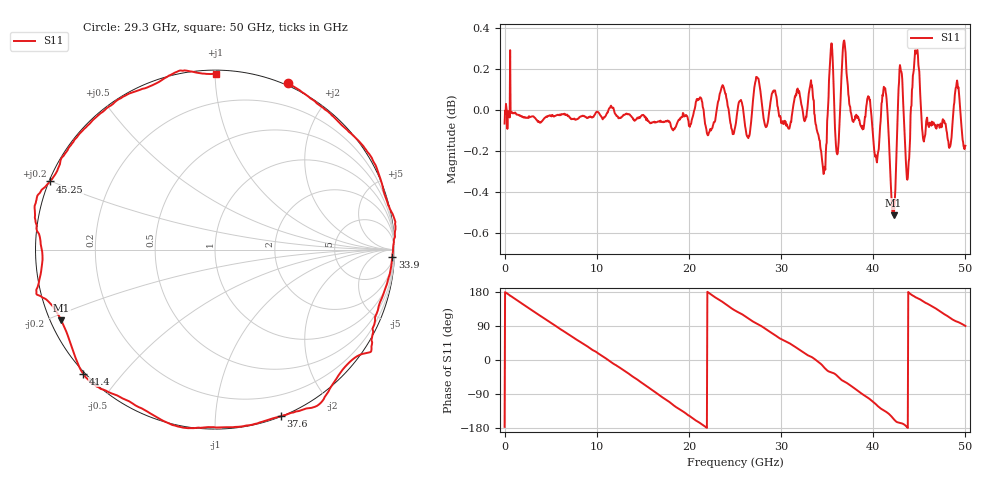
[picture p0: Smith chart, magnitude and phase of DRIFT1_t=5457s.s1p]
!Created with skrf (http://scikit-rf.org).
# Hz S RI R 50.0
!freq ReS11 ImS11
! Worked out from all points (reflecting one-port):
!   1001 points, 300 kHz to 50 GHz, reference 50 ohm
!   lowest |S11| = -0.5 dB at 42.2 GHz (marker M1), VSWR 33.98, Z = 1.54 - j10.9 ohm
!   phase of S11 starts at -176 deg and turns -814 deg over the sweep
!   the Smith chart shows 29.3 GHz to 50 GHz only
!   S11 on the Smith chart (normalised r, x): 29.3 GHz: -0.02, +1.53; 33.9 GHz: 12, -44; 37.6 GHz: 0.00, -1.47; 41.4 GHz: -0.00, -0.40; 45.25 GHz: 0.00, +0.20; 50 GHz: 0.02, +1.00
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300000  -0.9906 -0.061
1.550291e9  -0.8991 0.431
3.30028e9  -0.5816 0.8081
4.800271e9  -0.2005 0.9765
6.250262e9  0.1996 0.9775
9.500243e9  0.8886 0.45
1.115023e10  0.9985 0.0223
1.250022e10  0.9335 -0.3457
1.580021e10  0.2455 -0.9618
1.73502e10  -0.2059 -0.9719
1.875019e10  -0.5918 -0.7975
2.160017e10  -0.9921 -0.1242
2.350016e10  -0.9213 0.4182
2.500015e10  -0.6439 0.7521
2.730014e10  -0.1249 1.011
2.930012e10  0.4058 0.9258
3.125011e10  0.7784 0.6272
3.39001e10  0.9875 -0.0418
3.520009e10  0.8758 -0.5167
3.750008e10  0.3931 -0.9214
3.760007e10  0.3669 -0.9283
3.950006e10  -0.192 -0.9885
4.140005e10  -0.7352 -0.6906
4.220005e10  -0.8569 -0.3934
4.375004e10  -0.9627 -0.0123
4.525003e10  -0.9191 0.3798
4.775001e10  -0.5022 0.8566
5e10  0.00385 0.9802
